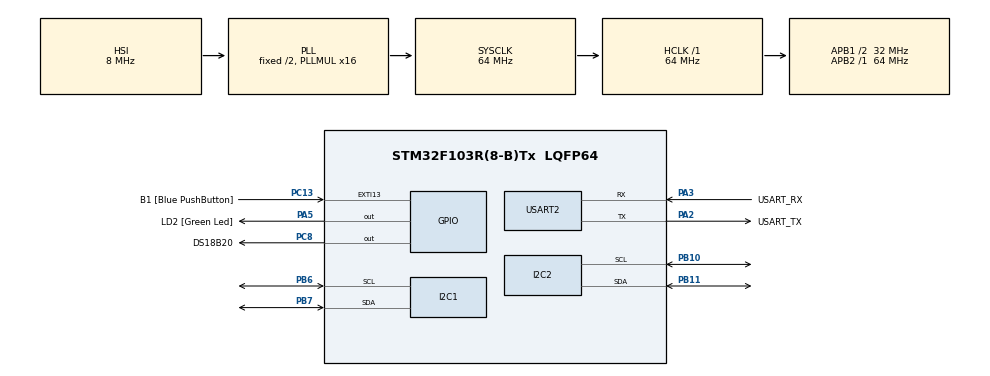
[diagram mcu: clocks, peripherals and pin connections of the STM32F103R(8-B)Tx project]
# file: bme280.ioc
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Mcu.Family=STM32F1
Mcu.Name=STM32F103R(8-B)Tx
Mcu.Package=LQFP64
NVIC.EXTI15_10_IRQn=true\:0\:0\:false\:false\:true\:true\:true
NVIC.I2C1_ER_IRQn=true\:0\:0\:false\:false\:true\:true\:true
NVIC.I2C1_EV_IRQn=true\:0\:0\:false\:false\:true\:true\:true
NVIC.PriorityGroup=NVIC_PRIORITYGROUP_4
PA13.GPIO_Label=TMS
PA13.Mode=Serial_Wire
PA13.Signal=SYS_JTMS-SWDIO
PA14.GPIO_Label=TCK
PA14.Mode=Serial_Wire
PA14.Signal=SYS_JTCK-SWCLK
PA2.GPIO_Label=USART_TX
PA2.GPIO_Mode=GPIO_MODE_AF_PP
PA2.GPIO_PuPd=GPIO_NOPULL
PA2.GPIO_Speed=GPIO_SPEED_FREQ_LOW
PA2.Mode=Asynchronous
PA2.Signal=USART2_TX
PA3.GPIO_Label=USART_RX
PA3.GPIO_Mode=GPIO_MODE_AF_PP
PA3.GPIO_PuPd=GPIO_NOPULL
PA3.GPIO_Speed=GPIO_SPEED_FREQ_LOW
PA3.Mode=Asynchronous
PA3.Signal=USART2_RX
PA5.GPIO_Label=LD2 [Green Led]
PA5.GPIO_ModeDefaultOutputPP=GPIO_MODE_OUTPUT_PP
PA5.GPIO_PuPd=GPIO_NOPULL
PA5.GPIO_Speed=GPIO_SPEED_FREQ_LOW
PA5.Signal=GPIO_Output
PB10.Mode=I2C
PB10.Signal=I2C2_SCL
PB11.Mode=I2C
PB11.Signal=I2C2_SDA
PB3.GPIO_Label=SWO
PB3.Signal=SYS_JTDO-TRACESWO
PB6.Mode=I2C
PB6.Signal=I2C1_SCL
PB7.Mode=I2C
PB7.Signal=I2C1_SDA
PC13-TAMPER-RTC.GPIO_Label=B1 [Blue PushButton]
PC13-TAMPER-RTC.GPIO_PuPd=GPIO_NOPULL
PC13-TAMPER-RTC.Signal=GPXTI13
PC14-OSC32_IN.Mode=LSE-External-Oscillator
PC14-OSC32_IN.Signal=RCC_OSC32_IN
PC15-OSC32_OUT.Mode=LSE-External-Oscillator
PC15-OSC32_OUT.Signal=RCC_OSC32_OUT
PC8.GPIO_Label=DS18B20
PC8.Signal=GPIO_Output
PD0-OSC_IN.Mode=HSE-External-Clock-Source
PD0-OSC_IN.Signal=RCC_OSC_IN
PD1-OSC_OUT.Mode=HSE-External-Clock-Source
PD1-OSC_OUT.Signal=RCC_OSC_OUT
ProjectManager.HeapSize=0x200
ProjectManager.StackSize=0x400
ProjectManager.TargetToolchain=TrueSTUDIO
RCC.AHBFreq_Value=64000000
RCC.APB1CLKDivider=RCC_HCLK_DIV2
RCC.APB1Freq_Value=32000000
RCC.APB1TimFreq_Value=64000000
RCC.APB2Freq_Value=64000000
RCC.APB2TimFreq_Value=64000000
RCC.HCLKFreq_Value=64000000
RCC.PLLMUL=RCC_PLL_MUL16
RCC.RTCClockSelection=RCC_RTCCLKSOURCE_LSE
RCC.SYSCLKFreq_VALUE=64000000
RCC.SYSCLKSource=RCC_SYSCLKSOURCE_PLLCLK
RCC.USBFreq_Value=64000000
TIM1.Period=0xFFFF
TIM1.Prescaler=63
TIM3.Period=0xFFFF
TIM3.Prescaler=63
USART2.VirtualMode=VM_ASYNC
VP_TIM1_VS_ClockSourceINT.Mode=Internal
VP_TIM3_VS_ClockSourceINT.Mode=Internal
board=NUCLEO-F103RB

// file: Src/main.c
/* USER CODE BEGIN Header */
/**
  ******************************************************************************
  * @file           : main.c
  * @brief          : Main program body
  ******************************************************************************
  * @attention
  *
  * <h2><center>&copy; Copyright (c) 2019 STMicroelectronics.
  * All rights reserved.</center></h2>
  *
  * This software component is licensed by ST under BSD 3-Clause license,
  * the "License"; You may not use this file except in compliance with the
  * License. You may obtain a copy of the License at:
  *                        opensource.org/licenses/BSD-3-Clause
  *
  ******************************************************************************
  */
/* USER CODE END Header */

#include "main.h"
#include "i2c.h"
#include "tim.h"
#include "usart.h"
#include "gpio.h"

/* USER CODE BEGIN Includes */
#include "BMPXX80.h"
#include "delays.h"
#include "onewire.h"
#include "ds18b20.h"
#include "string.h"
/* USER CODE END Includes */

/* USER CODE BEGIN PV */
float temperature, huminidity;
int32_t pressure;
float dstemperature;
/* USER CODE END PV */

void SystemClock_Config(void);

int main(void)
{

  /* MCU Configuration--------------------------------------------------------*/

  /* Reset of all peripherals, Initializes the Flash interface and the Systick. */
  HAL_Init();

  /* Configure the system clock */
  SystemClock_Config();

  /* Initialize all configured peripherals */
  MX_GPIO_Init();
  MX_I2C1_Init();
  MX_USART2_UART_Init();
  MX_TIM3_Init();
  MX_I2C2_Init();
  MX_TIM1_Init();
  /* USER CODE BEGIN 2 */
  HAL_TIM_Base_Start(&htim3);

//
  BME280_Init(&hi2c2, BME280_TEMPERATURE_16BIT, BME280_PRESSURE_ULTRALOWPOWER, BME280_HUMINIDITY_STANDARD, BME280_NORMALMODE);
  BME280_SetConfig(BME280_STANDBY_MS_10, BME280_FILTER_OFF);
  DS18B20_Init(DS18B20_Resolution_9bits);
  HAL_Delay(1000);
  /* USER CODE END 2 */

  /* Infinite loop */
  while (1)
  {

    /* USER CODE BEGIN 3 */

//	  HAL_GPIO_WritePin(TEST_GPIO_Port, TEST_Pin, 1);
	  BME280_ReadTemperatureAndPressureAndHuminidity(&temperature, &pressure, &huminidity);
//	  HAL_GPIO_WritePin(TEST_GPIO_Port, TEST_Pin, 0);
	  DS18B20_ReadAll();
	  DS18B20_StartAll();
	  if (DS18B20_GetTemperature(0, &dstemperature)) {
//	  	memset(message, 0, sizeof(message));
//	  	messageSize = sprintf(message, "%.1f\n\r", temperature);
//	  	HAL_UART_Transmit_DMA(&huart2, (uint8_t*) message, messageSize);
	  	  	}
	  	  	HAL_GPIO_TogglePin(LD2_GPIO_Port, LD2_Pin);
	  HAL_Delay(500);
  }

  /* USER CODE END 3 */
}

void SystemClock_Config(void)
{
  RCC_OscInitTypeDef RCC_OscInitStruct = {0};
  RCC_ClkInitTypeDef RCC_ClkInitStruct = {0};

  /** Initializes the CPU, AHB and APB busses clocks
  */
  RCC_OscInitStruct.OscillatorType = RCC_OSCILLATORTYPE_HSI;
  RCC_OscInitStruct.HSIState = RCC_HSI_ON;
  RCC_OscInitStruct.HSICalibrationValue = RCC_HSICALIBRATION_DEFAULT;
  RCC_OscInitStruct.PLL.PLLState = RCC_PLL_ON;
  RCC_OscInitStruct.PLL.PLLSource = RCC_PLLSOURCE_HSI_DIV2;
  RCC_OscInitStruct.PLL.PLLMUL = RCC_PLL_MUL16;
  if (HAL_RCC_OscConfig(&RCC_OscInitStruct) != HAL_OK)
  {
    Error_Handler();
  }
  /** Initializes the CPU, AHB and APB busses clocks
  */
  RCC_ClkInitStruct.ClockType = RCC_CLOCKTYPE_HCLK|RCC_CLOCKTYPE_SYSCLK
                              |RCC_CLOCKTYPE_PCLK1|RCC_CLOCKTYPE_PCLK2;
  RCC_ClkInitStruct.SYSCLKSource = RCC_SYSCLKSOURCE_PLLCLK;
  RCC_ClkInitStruct.AHBCLKDivider = RCC_SYSCLK_DIV1;
  RCC_ClkInitStruct.APB1CLKDivider = RCC_HCLK_DIV2;
  RCC_ClkInitStruct.APB2CLKDivider = RCC_HCLK_DIV1;

  if (HAL_RCC_ClockConfig(&RCC_ClkInitStruct, FLASH_LATENCY_2) != HAL_OK)
  {
    Error_Handler();
  }
}

void Error_Handler(void)
{
}

/************************ (C) COPYRIGHT STMicroelectronics *****END OF FILE****/
